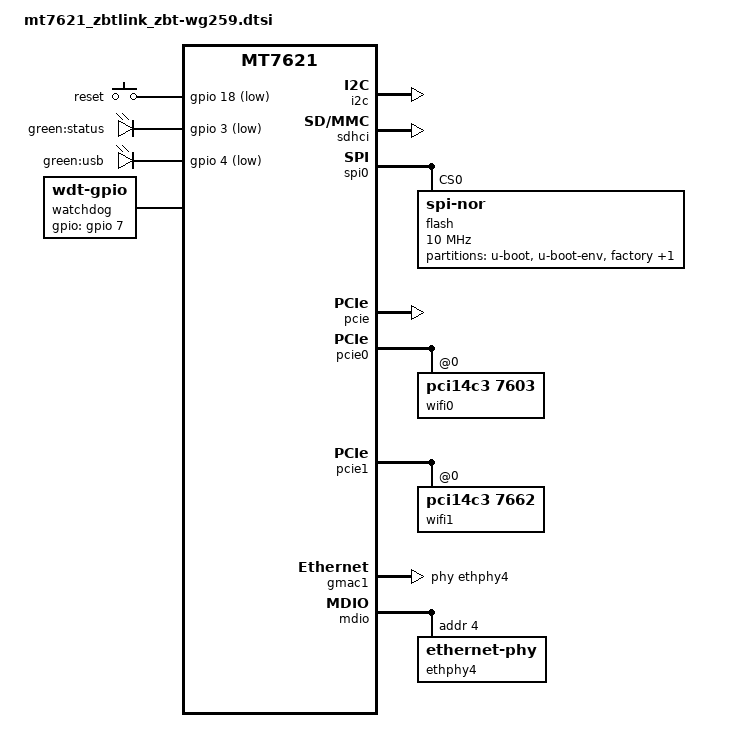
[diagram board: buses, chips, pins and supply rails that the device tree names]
#include "mt7621.dtsi"

#include <dt-bindings/gpio/gpio.h>
#include <dt-bindings/input/input.h>

/ {
	compatible = "zbtlink,zbt-wg259", "mediatek,mt7621-soc";

	aliases {
		led-boot = &led_status;
		led-failsafe = &led_status;
		led-running = &led_status;
		led-upgrade = &led_status;
		label-mac-device = &gmac0;
	};

	chosen {
		bootargs = "console=ttyS0,115200";
	};

	keys {
		compatible = "gpio-keys-polled";
		poll-interval = <20>;

		reset {
			label = "reset";
			gpios = <&gpio 18 GPIO_ACTIVE_LOW>;
			linux,code = <KEY_RESTART>;
		};
	};

	leds {
		compatible = "gpio-leds";

		led_status: status {
			label = "green:status";
			gpios = <&gpio 3 GPIO_ACTIVE_LOW>;
		};
		usb {
			label = "green:usb";
			gpios = <&gpio 4 GPIO_ACTIVE_LOW>;
		};
	};
	
	watchdog {
		compatible = "linux,wdt-gpio";
		gpios = <&gpio 7 GPIO_ACTIVE_HIGH>;
		hw_algo = "toggle";
		/* hw_margin_ms is actually ~120s but driver limits it to 60s */
		hw_margin_ms = <60000>;
		always-running;
	};
};

&i2c {
	status = "okay";
};


&sdhci {
	status = "okay";
};

&spi0 {
	status = "okay";

	flash@0 {
		compatible = "jedec,spi-nor";
		reg = <0>;
		spi-max-frequency = <10000000>;

		partitions {
			compatible = "fixed-partitions";
			#address-cells = <1>;
			#size-cells = <1>;

			partition@0 {
				label = "u-boot";
				reg = <0x0 0x30000>;
				read-only;
			};

			partition@30000 {
				label = "u-boot-env";
				reg = <0x30000 0x10000>;
				read-only;
			};

			factory: partition@40000 {
				label = "factory";
				reg = <0x40000 0x10000>;
				read-only;
			};

			firmware: partition@50000 {
				compatible = "denx,uimage";
				label = "firmware";
			};
		};
	};
};

&pcie {
	status = "okay";
};

&pcie0 {
	wifi0: wifi@0,0 {
		compatible = "pci14c3,7603";
		reg = <0x0000 0 0 0 0>;
		mediatek,mtd-eeprom = <&factory 0x0000>;
	};
};

&pcie1 {
	wifi1: wifi@0,0 {
		compatible = "pci14c3,7662";
		reg = <0x0000 0 0 0 0>;
		mediatek,mtd-eeprom = <&factory 0x8000>;
		ieee80211-freq-limit = <5000000 6000000>;

		led {
			led-sources = <2>;
		};
	};
};

&gmac0 {
	nvmem-cells = <&macaddr_factory_e000>;
	nvmem-cell-names = "mac-address";
};

&gmac1 {
	status = "okay";
	label = "wan";
	phy-handle = <&ethphy4>;

	nvmem-cells = <&macaddr_factory_e006>;
	nvmem-cell-names = "mac-address";
};

&mdio {
	ethphy4: ethernet-phy@4 {
		reg = <4>;
	};
};

&switch0 {
	ports {
		port@0 {
			status = "okay";
			label = "lan1";
		};

		port@1 {
			status = "okay";
			label = "lan2";
		};

		port@2 {
			status = "okay";
			label = "lan3";
		};

		port@3 {
			status = "okay";
			label = "lan4";
		};
	};
};

&state_default {
	gpio {
		groups = "i2c", "uart2", "wdt";
		function = "gpio";
	};
};

&factory {
	compatible = "nvmem-cells";
	#address-cells = <1>;
	#size-cells = <1>;

	macaddr_factory_e000: macaddr@e000 {
		reg = <0xe000 0x6>;
	};

	macaddr_factory_e006: macaddr@e006 {
		reg = <0xe006 0x6>;
	};
};
